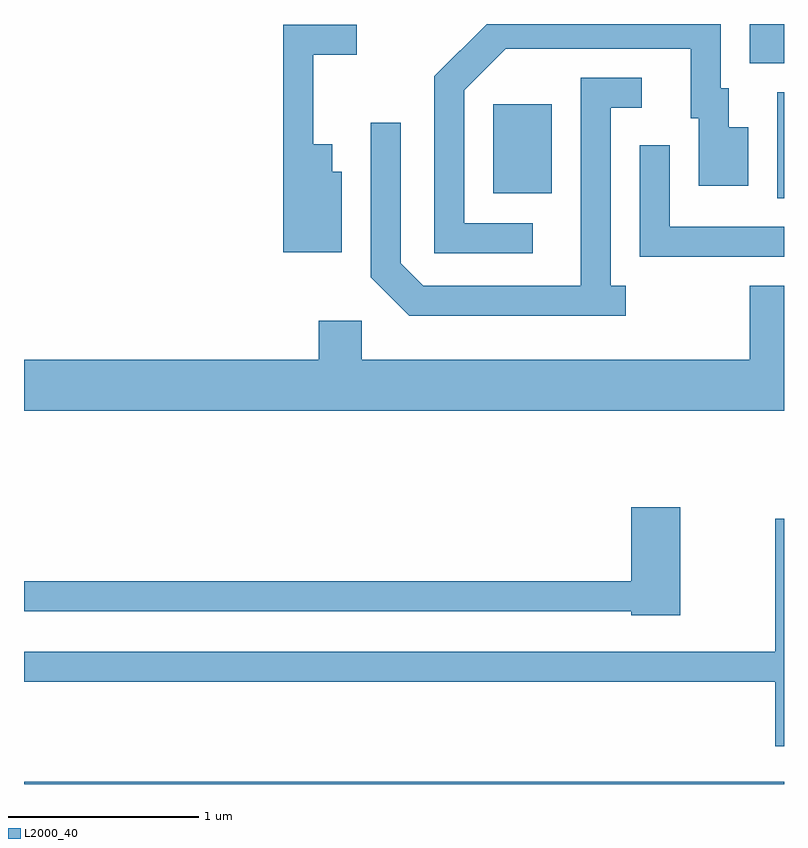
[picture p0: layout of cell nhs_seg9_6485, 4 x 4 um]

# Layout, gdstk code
import gdstk
lib = gdstk.Library(unit=1e-6, precision=1e-09)
def R(c, l, rs):  # rectangles x0, y0, x1, y1
    for r in rs: c.add(gdstk.rectangle(r[:2], r[2:], *l))
def P(c, l, *ps):  # polygons
    for p in ps: c.add(gdstk.Polygon(p, *l))
L2000_40 = (2000, 40)

nhs_seg9_6485 = lib.new_cell('nhs_seg9_6485')
R(nhs_seg9_6485, L2000_40, [(375.611,2076.432,379.611,2076.444), (379.576,2079.516,379.611,2080.074), (378.081,2079.541,378.389,2080.009), (379.431,2080.226,379.611,2080.432)])
P(nhs_seg9_6485, L2000_40, [(378.288,2079.384),(377.929,2079.384),(377.929,2080.084),(378.147,2080.301),(379.121,2080.301),(379.121,2079.936),(379.161,2079.936),(379.161,2079.581),(379.424,2079.581),(379.424,2079.889),(379.319,2079.889),(379.319,2080.094),(379.279,2080.094),(379.279,2080.432),(378.047,2080.432),(377.771,2080.157),(377.771,2079.226),(378.288,2079.226)],
  [(377.284,2079.654),(377.234,2079.654),(377.234,2079.799),(377.134,2079.799),(377.134,2080.271),(377.363,2080.271),(377.363,2080.429),(376.976,2080.429),(376.976,2079.231),(377.284,2079.231)],
  [(378.778,2079.054),(378.699,2079.054),(378.699,2079.991),(378.863,2079.991),(378.863,2080.149),(378.541,2080.149),(378.541,2079.054),(377.712,2079.054),(377.594,2079.172),(377.594,2079.913),(377.436,2079.913),(377.436,2079.099),(377.639,2078.896),(378.778,2078.896)],
  [(379.611,2079.364),(379.009,2079.364),(379.009,2079.793),(378.851,2079.793),(378.851,2079.206),(379.611,2079.206)],
  [(379.611,2079.054),(379.431,2079.054),(379.431,2078.664),(377.389,2078.664),(377.389,2078.869),(377.161,2078.869),(377.161,2078.664),(375.611,2078.664),(375.611,2078.396),(379.611,2078.396)],
  [(379.064,2077.889),(378.806,2077.889),(378.806,2077.499),(375.611,2077.499),(375.611,2077.341),(378.806,2077.341),(378.806,2077.321),(379.064,2077.321)],
  [(379.611,2077.829),(379.566,2077.829),(379.566,2077.129),(375.611,2077.129),(375.611,2076.971),(379.566,2076.971),(379.566,2076.631),(379.611,2076.631)])

lib.write_gds('nhs_seg9_6485.gds')
